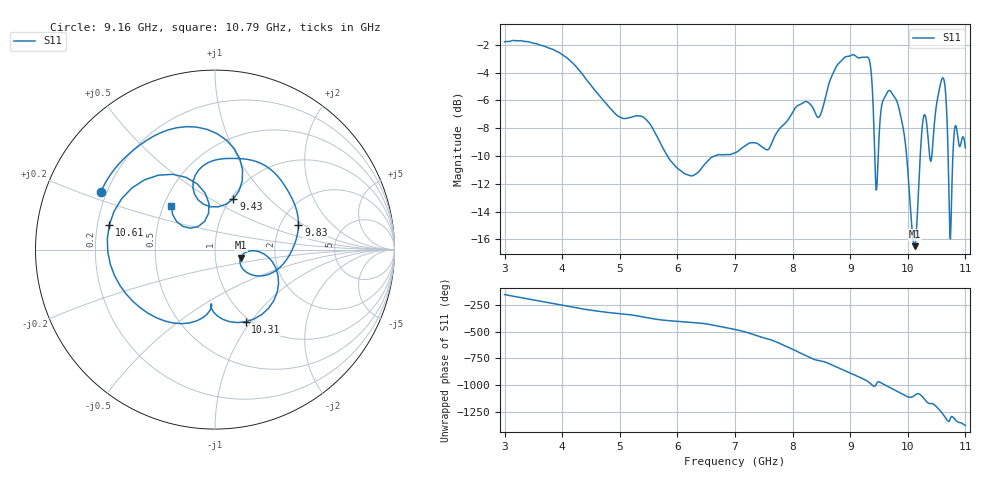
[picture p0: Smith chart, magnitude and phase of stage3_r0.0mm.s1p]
# GHz S DB R 50
! openEMS Stage 3 Simulation: r0.0mm
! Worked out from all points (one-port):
!   801 points, 3 GHz to 11 GHz, reference 50 ohm
!   lowest |S11| = -16.5 dB at 10.12 GHz (marker M1), VSWR 1.35, Z = 66.4 - j5.99 ohm
!   |S11| at or under -10 dB: 5.828 GHz to 6.643 GHz (814.5 MHz wide, 13.1 % of centre); 9.98 GHz to 10.22 GHz (236 MHz wide, 2.34 % of centre); 10.7 GHz to 10.78 GHz (82.54 MHz wide, 0.768 % of centre)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
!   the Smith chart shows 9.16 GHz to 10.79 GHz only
!   S11 on the Smith chart (normalised r, x): 9.16 GHz: 0.18, +0.23; 9.43 GHz: 1.03, +0.64; 9.83 GHz: 2.51, +0.89; 10.31 GHz: 0.95, -0.95; 10.61 GHz: 0.25, +0.11; 10.79 GHz: 0.55, +0.30
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3  -1.77 -151.8
3.44  -1.80 162.9
4  -2.70 107.2
4.45  -4.65 65.2
5  -7.19 28.6
6  -10.88 -43.2
7  -9.76 -119.4
7.63  -9.16 142.3
8  -6.86 55.7
8.25  -6.09 -10.5
8.69  -4.16 -93.3
9  -2.78 -168.5
9.16  -2.93 153.3
9.32  -2.96 107.4
9.43  -10.43 70.1
9.51  -7.96 107.6
9.64  -5.45 70.3
9.83  -6.30 16.2
10  -11.03 -31.5
10.12  -16.49 -17.1
10.24  -8.41 -22.3
10.31  -7.19 -66.9
10.51  -6.00 -130.8
10.61  -4.37 166.9
10.66  -5.67 127.2
10.71  -11.74 97.5
10.79  -9.32 135.3
11  -9.41 60.3
